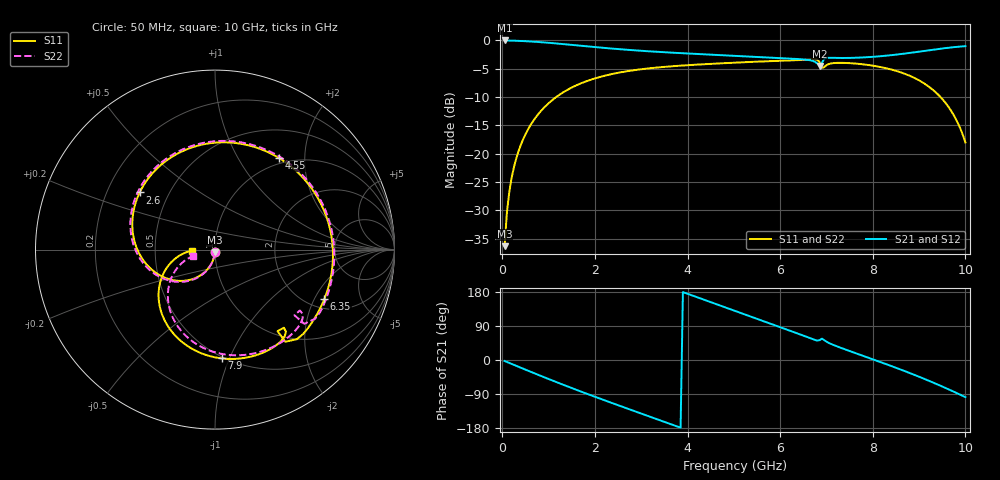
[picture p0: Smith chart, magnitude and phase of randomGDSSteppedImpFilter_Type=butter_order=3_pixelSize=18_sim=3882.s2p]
! freq	dB(S11)	phase(S11)	dB(S12)	phase(S12)
!  dB(S21)	phase(S21)	dB(S22)	phase(S22)
!S-par simulation data
#  GHz  S  DB  R 50
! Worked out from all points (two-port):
!   200 points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, 50 MHz to 10 GHz, reference 50 ohm
!   highest |S21| = 0.00 dB at 50 MHz (marker M1); lowest = -4.5 dB at 6.85 GHz (marker M2)
!   |S21| within 3 dB of the highest: start of sweep to 5.721 GHz; 7.784 GHz to end of sweep
!   lowest |S11| = -36.3 dB at 50 MHz (marker M3), VSWR 1.03, Z = 49.9 - j1.52 ohm
!   |S11| at or under -10 dB: start of sweep to 1.164 GHz; 9.462 GHz to end of sweep
!   |S22| runs from -36.3 to -3.3 dB; largest |S21 - S12| = 0
!   S11 on the Smith chart (normalised r, x): 50 MHz: 1.00, -0.03; 2.6 GHz: 0.34, +0.30; 4.55 GHz: 0.91, +1.52; 6.35 GHz: 2.42, -2.41; 7.9 GHz: 0.49, -0.94; 10 GHz: 0.78, -0.01
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0.05  -36.34 -92.5  -0.00 -2.6  -0.00 -2.6  -36.34 -92.5
0.1  -30.33 -95.3  -0.01 -5.2  -0.01 -5.2  -30.33 -95.2
0.2  -24.35 -100.7  -0.03 -10.3  -0.03 -10.3  -24.35 -100.4
0.5  -16.59 -116.4  -0.13 -25.4  -0.13 -25.4  -16.59 -115.6
1.15  -10.08 -149.2  -0.52 -57.5  -0.52 -57.5  -10.08 -147.1
1.75  -7.41 -178.0  -0.98 -85.6  -0.98 -85.6  -7.41 -174.7
2.6  -5.57 142.8  -1.59 -123.8  -1.59 -123.8  -5.57 148.2
3.4  -4.74 106.6  -2.04 -158.9  -2.04 -158.9  -4.74 114.2
3.95  -4.40 81.8  -2.28 177.0  -2.28 177.0  -4.40 90.9
4.55  -4.12 54.8  -2.53 150.5  -2.53 150.5  -4.11 65.5
5.05  -3.91 32.4  -2.73 128.4  -2.73 128.4  -3.91 44.1
5.7  -3.68 3.8  -2.99 99.7  -2.99 99.7  -3.67 16.4
6.35  -3.50 -24.4  -3.26 71.1  -3.26 71.1  -3.48 -11.4
6.7  -3.37 -40.7  -3.60 55.3  -3.60 55.3  -3.35 -27.7
6.85  -3.80 -52.7  -4.51 52.2  -4.51 52.2  -3.79 -39.7
6.95  -4.73 -48.6  -3.24 52.7  -3.24 52.7  -4.70 -35.7
7.25  -3.96 -59.7  -3.10 34.9  -3.10 34.9  -3.93 -46.9
7.9  -4.33 -86.6  -2.95 6.3  -2.95 6.3  -4.30 -74.1
8.35  -5.03 -105.3  -2.65 -13.6  -2.65 -13.6  -4.99 -93.1
9.15  -7.81 -140.6  -1.81 -51.7  -1.81 -51.7  -7.77 -128.7
9.65  -11.91 -163.9  -1.28 -78.1  -1.28 -78.1  -11.87 -151.5
10  -18.02 -177.7  -1.01 -98.0  -1.01 -98.0  -17.92 -163.5
